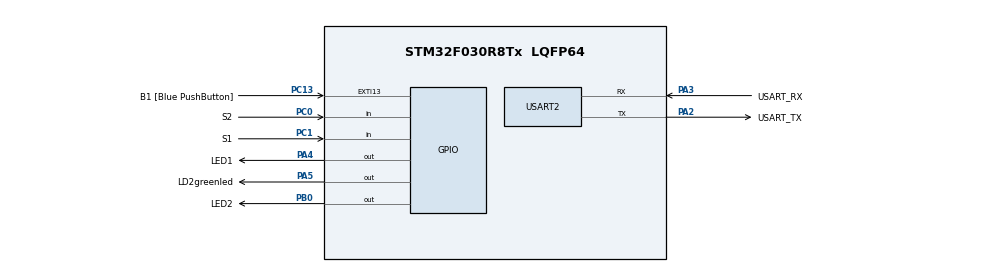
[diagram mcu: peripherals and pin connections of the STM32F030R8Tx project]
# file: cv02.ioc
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Mcu.Family=STM32F0
Mcu.Name=STM32F030R8Tx
Mcu.Package=LQFP64
PA13.GPIO_Label=TMS
PA13.Mode=Serial_Wire
PA13.Signal=SYS_SWDIO
PA14.GPIO_Label=TCK
PA14.Mode=Serial_Wire
PA14.Signal=SYS_SWCLK
PA2.GPIO_Label=USART_TX
PA2.GPIO_Mode=GPIO_MODE_AF_PP
PA2.GPIO_PuPd=GPIO_NOPULL
PA2.GPIO_Speed=GPIO_SPEED_FREQ_LOW
PA2.Mode=Asynchronous
PA2.Signal=USART2_TX
PA3.GPIO_Label=USART_RX
PA3.GPIO_Mode=GPIO_MODE_AF_PP
PA3.GPIO_PuPd=GPIO_NOPULL
PA3.GPIO_Speed=GPIO_SPEED_FREQ_LOW
PA3.Mode=Asynchronous
PA3.Signal=USART2_RX
PA4.GPIO_Label=LED1
PA4.Signal=GPIO_Output
PA5.GPIO_Label=LD2greenled
PA5.Signal=GPIO_Output
PB0.GPIO_Label=LED2
PB0.Signal=GPIO_Output
PC0.GPIO_Label=S2
PC0.GPIO_PuPd=GPIO_PULLUP
PC0.Signal=GPIO_Input
PC1.GPIO_Label=S1
PC1.GPIO_PuPd=GPIO_PULLUP
PC1.Signal=GPIO_Input
PC13.GPIO_Label=B1 [Blue PushButton]
PC13.GPIO_ModeDefaultEXTI=GPIO_MODE_IT_FALLING
PC13.Signal=GPXTI13
PC14-OSC32_IN.Mode=LSE-External-Oscillator
PC14-OSC32_IN.Signal=RCC_OSC32_IN
PC15-OSC32_OUT.Mode=LSE-External-Oscillator
PC15-OSC32_OUT.Signal=RCC_OSC32_OUT
PF0-OSC_IN.Mode=HSE-External-Clock-Source
PF0-OSC_IN.Signal=RCC_OSC_IN
PF1-OSC_OUT.Signal=RCC_OSC_OUT
ProjectManager.HeapSize=0x200
ProjectManager.StackSize=0x400
ProjectManager.TargetToolchain=STM32CubeIDE
RCC.AHBFreq_Value=48000000
RCC.APB1Freq_Value=48000000
RCC.APB1TimFreq_Value=48000000
RCC.HCLKFreq_Value=48000000
RCC.PLLMUL=RCC_PLL_MUL12
RCC.SYSCLKFreq_VALUE=48000000
RCC.SYSCLKSource=RCC_SYSCLKSOURCE_PLLCLK
USART2.VirtualMode-Asynchronous=VM_ASYNC
board=NUCLEO-F030R8

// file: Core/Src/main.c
/* USER CODE BEGIN Header */
/**
  ******************************************************************************
  * @file           : main.c
  * @brief          : Main program body
  ******************************************************************************
  * @attention
  *
  * Copyright (c) 2024 STMicroelectronics.
  * All rights reserved.
  *
  * This software is licensed under terms that can be found in the LICENSE file
  * in the root directory of this software component.
  * If no LICENSE file comes with this software, it is provided AS-IS.
  *
  ******************************************************************************
  */
/* USER CODE END Header */
#include "main.h"

/* USER CODE BEGIN Includes */
#define LED_TIME_BLINK 300
#define LED_TIME_SHORT 100
#define LED_TIME_LONG  1000
/* USER CODE END Includes */

void SystemClock_Config(void);
static void MX_GPIO_Init(void);
static void MX_USART2_UART_Init(void);
/* USER CODE BEGIN PFP */
void blikac(void);
void button(void);
/* USER CODE END PFP */

/* USER CODE BEGIN 0 */
volatile uint32_t Tick;

/* USER CODE END 0 */

int main(void)
{

  /* MCU Configuration--------------------------------------------------------*/

  /* Reset of all peripherals, Initializes the Flash interface and the Systick. */
  LL_APB1_GRP2_EnableClock(LL_APB1_GRP2_PERIPH_SYSCFG);
  LL_APB1_GRP1_EnableClock(LL_APB1_GRP1_PERIPH_PWR);

  /* Configure the system clock */
  SystemClock_Config();

  /* Initialize all configured peripherals */
  MX_GPIO_Init();
  MX_USART2_UART_Init();
  /* USER CODE BEGIN 2 */
  LL_SYSTICK_EnableIT();
  /* USER CODE END 2 */

  /* Infinite loop */
  /* USER CODE BEGIN WHILE */
  while (1)
  {
	  blikac();
	  button();
    /* USER CODE END WHILE */

  }
}

void SystemClock_Config(void)
{
  LL_FLASH_SetLatency(LL_FLASH_LATENCY_1);
  while(LL_FLASH_GetLatency() != LL_FLASH_LATENCY_1)
  {
  }
  LL_RCC_HSI_Enable();

   /* Wait till HSI is ready */
  while(LL_RCC_HSI_IsReady() != 1)
  {

  }
  LL_RCC_HSI_SetCalibTrimming(16);
  LL_RCC_PLL_ConfigDomain_SYS(LL_RCC_PLLSOURCE_HSI_DIV_2, LL_RCC_PLL_MUL_12);
  LL_RCC_PLL_Enable();

   /* Wait till PLL is ready */
  while(LL_RCC_PLL_IsReady() != 1)
  {

  }
  LL_RCC_SetAHBPrescaler(LL_RCC_SYSCLK_DIV_1);
  LL_RCC_SetAPB1Prescaler(LL_RCC_APB1_DIV_1);
  LL_RCC_SetSysClkSource(LL_RCC_SYS_CLKSOURCE_PLL);

   /* Wait till System clock is ready */
  while(LL_RCC_GetSysClkSource() != LL_RCC_SYS_CLKSOURCE_STATUS_PLL)
  {

  }
  LL_Init1msTick(48000000);
  LL_SetSystemCoreClock(48000000);
}

static void MX_USART2_UART_Init(void)
{

  LL_USART_InitTypeDef USART_InitStruct = {0};

  LL_GPIO_InitTypeDef GPIO_InitStruct = {0};

  /* Peripheral clock enable */
  LL_APB1_GRP1_EnableClock(LL_APB1_GRP1_PERIPH_USART2);

  LL_AHB1_GRP1_EnableClock(LL_AHB1_GRP1_PERIPH_GPIOA);
  /**USART2 GPIO Configuration
  PA2   ------> USART2_TX
  PA3   ------> USART2_RX
  */
  GPIO_InitStruct.Pin = USART_TX_Pin;
  GPIO_InitStruct.Mode = LL_GPIO_MODE_ALTERNATE;
  GPIO_InitStruct.Speed = LL_GPIO_SPEED_FREQ_LOW;
  GPIO_InitStruct.OutputType = LL_GPIO_OUTPUT_PUSHPULL;
  GPIO_InitStruct.Pull = LL_GPIO_PULL_NO;
  GPIO_InitStruct.Alternate = LL_GPIO_AF_1;
  LL_GPIO_Init(USART_TX_GPIO_Port, &GPIO_InitStruct);

  GPIO_InitStruct.Pin = USART_RX_Pin;
  GPIO_InitStruct.Mode = LL_GPIO_MODE_ALTERNATE;
  GPIO_InitStruct.Speed = LL_GPIO_SPEED_FREQ_LOW;
  GPIO_InitStruct.OutputType = LL_GPIO_OUTPUT_PUSHPULL;
  GPIO_InitStruct.Pull = LL_GPIO_PULL_NO;
  GPIO_InitStruct.Alternate = LL_GPIO_AF_1;
  LL_GPIO_Init(USART_RX_GPIO_Port, &GPIO_InitStruct);

  USART_InitStruct.BaudRate = 38400;
  USART_InitStruct.DataWidth = LL_USART_DATAWIDTH_8B;
  USART_InitStruct.StopBits = LL_USART_STOPBITS_1;
  USART_InitStruct.Parity = LL_USART_PARITY_NONE;
  USART_InitStruct.TransferDirection = LL_USART_DIRECTION_TX_RX;
  USART_InitStruct.HardwareFlowControl = LL_USART_HWCONTROL_NONE;
  USART_InitStruct.OverSampling = LL_USART_OVERSAMPLING_16;
  LL_USART_Init(USART2, &USART_InitStruct);
  LL_USART_DisableIT_CTS(USART2);
  LL_USART_ConfigAsyncMode(USART2);
  LL_USART_Enable(USART2);

}

static void MX_GPIO_Init(void)
{
  LL_EXTI_InitTypeDef EXTI_InitStruct = {0};
  LL_GPIO_InitTypeDef GPIO_InitStruct = {0};

  /* GPIO Ports Clock Enable */
  LL_AHB1_GRP1_EnableClock(LL_AHB1_GRP1_PERIPH_GPIOC);
  LL_AHB1_GRP1_EnableClock(LL_AHB1_GRP1_PERIPH_GPIOF);
  LL_AHB1_GRP1_EnableClock(LL_AHB1_GRP1_PERIPH_GPIOA);
  LL_AHB1_GRP1_EnableClock(LL_AHB1_GRP1_PERIPH_GPIOB);

  /**/
  LL_GPIO_ResetOutputPin(LED1_GPIO_Port, LED1_Pin);

  /**/
  LL_GPIO_ResetOutputPin(LD2greenled_GPIO_Port, LD2greenled_Pin);

  /**/
  LL_GPIO_ResetOutputPin(LED2_GPIO_Port, LED2_Pin);

  /**/
  LL_SYSCFG_SetEXTISource(LL_SYSCFG_EXTI_PORTC, LL_SYSCFG_EXTI_LINE13);

  /**/
  LL_GPIO_SetPinPull(B1_GPIO_Port, B1_Pin, LL_GPIO_PULL_NO);

  /**/
  LL_GPIO_SetPinMode(B1_GPIO_Port, B1_Pin, LL_GPIO_MODE_INPUT);

  /**/
  EXTI_InitStruct.Line_0_31 = LL_EXTI_LINE_13;
  EXTI_InitStruct.LineCommand = ENABLE;
  EXTI_InitStruct.Mode = LL_EXTI_MODE_IT;
  EXTI_InitStruct.Trigger = LL_EXTI_TRIGGER_FALLING;
  LL_EXTI_Init(&EXTI_InitStruct);

  /**/
  GPIO_InitStruct.Pin = S2_Pin;
  GPIO_InitStruct.Mode = LL_GPIO_MODE_INPUT;
  GPIO_InitStruct.Pull = LL_GPIO_PULL_UP;
  LL_GPIO_Init(S2_GPIO_Port, &GPIO_InitStruct);

  /**/
  GPIO_InitStruct.Pin = S1_Pin;
  GPIO_InitStruct.Mode = LL_GPIO_MODE_INPUT;
  GPIO_InitStruct.Pull = LL_GPIO_PULL_UP;
  LL_GPIO_Init(S1_GPIO_Port, &GPIO_InitStruct);

  /**/
  GPIO_InitStruct.Pin = LED1_Pin;
  GPIO_InitStruct.Mode = LL_GPIO_MODE_OUTPUT;
  GPIO_InitStruct.Speed = LL_GPIO_SPEED_FREQ_LOW;
  GPIO_InitStruct.OutputType = LL_GPIO_OUTPUT_PUSHPULL;
  GPIO_InitStruct.Pull = LL_GPIO_PULL_NO;
  LL_GPIO_Init(LED1_GPIO_Port, &GPIO_InitStruct);

  /**/
  GPIO_InitStruct.Pin = LD2greenled_Pin;
  GPIO_InitStruct.Mode = LL_GPIO_MODE_OUTPUT;
  GPIO_InitStruct.Speed = LL_GPIO_SPEED_FREQ_LOW;
  GPIO_InitStruct.OutputType = LL_GPIO_OUTPUT_PUSHPULL;
  GPIO_InitStruct.Pull = LL_GPIO_PULL_NO;
  LL_GPIO_Init(LD2greenled_GPIO_Port, &GPIO_InitStruct);

  /**/
  GPIO_InitStruct.Pin = LED2_Pin;
  GPIO_InitStruct.Mode = LL_GPIO_MODE_OUTPUT;
  GPIO_InitStruct.Speed = LL_GPIO_SPEED_FREQ_LOW;
  GPIO_InitStruct.OutputType = LL_GPIO_OUTPUT_PUSHPULL;
  GPIO_InitStruct.Pull = LL_GPIO_PULL_NO;
  LL_GPIO_Init(LED2_GPIO_Port, &GPIO_InitStruct);

}

/* USER CODE BEGIN 4 */
void blikac(void)
{
	static uint32_t delay;

	if (Tick > delay + LED_TIME_BLINK)
	{
		LL_GPIO_TogglePin(LED1_GPIO_Port, LED1_Pin);
		delay = Tick;
	}
}

void button(void)
{
	static uint32_t delay;
	static uint32_t delay_new;
	static uint32_t off_time;
	static uint16_t debounce = 0xFFFF;
	if (Tick > delay + 40){
		static uint32_t old_s2;
		uint32_t new_s2 = LL_GPIO_IsInputPinSet(S2_GPIO_Port, S2_Pin);
		if (old_s2 && !new_s2) { // falling edge
			off_time = Tick + LED_TIME_SHORT;
			LL_GPIO_SetOutputPin(LED2_GPIO_Port, LED2_Pin);

		}
		old_s2 = new_s2;
		delay = Tick;
	}
	/*if (Tick > delay + 40){
		static uint32_t old_s1;
		uint32_t new_s1 = LL_GPIO_IsInputPinSet(S1_GPIO_Port, S1_Pin);
		if (old_s1 && !new_s1) { // falling edge
			off_time = Tick + LED_TIME_LONG;
			LL_GPIO_SetOutputPin(LED2_GPIO_Port, LED2_Pin);

		}
		old_s1 = new_s1;
		delay = Tick;
	}*/
	if (Tick > off_time) {
		LL_GPIO_ResetOutputPin(LED2_GPIO_Port, LED2_Pin);
	}
	if (Tick > delay_new + 5){
		delay_new = Tick;
		debounce <<=1;
		if (LL_GPIO_IsInputPinSet(S1_GPIO_Port, S1_Pin)) {
			debounce |= 0x0001;
		}
		if (debounce == 0x7FFF) {

			off_time = Tick + LED_TIME_LONG;
			LL_GPIO_SetOutputPin(LED2_GPIO_Port, LED2_Pin);

		}
	}
}
/* USER CODE END 4 */

void Error_Handler(void)
{
  __disable_irq();
  while (1)
  {
  }
}
